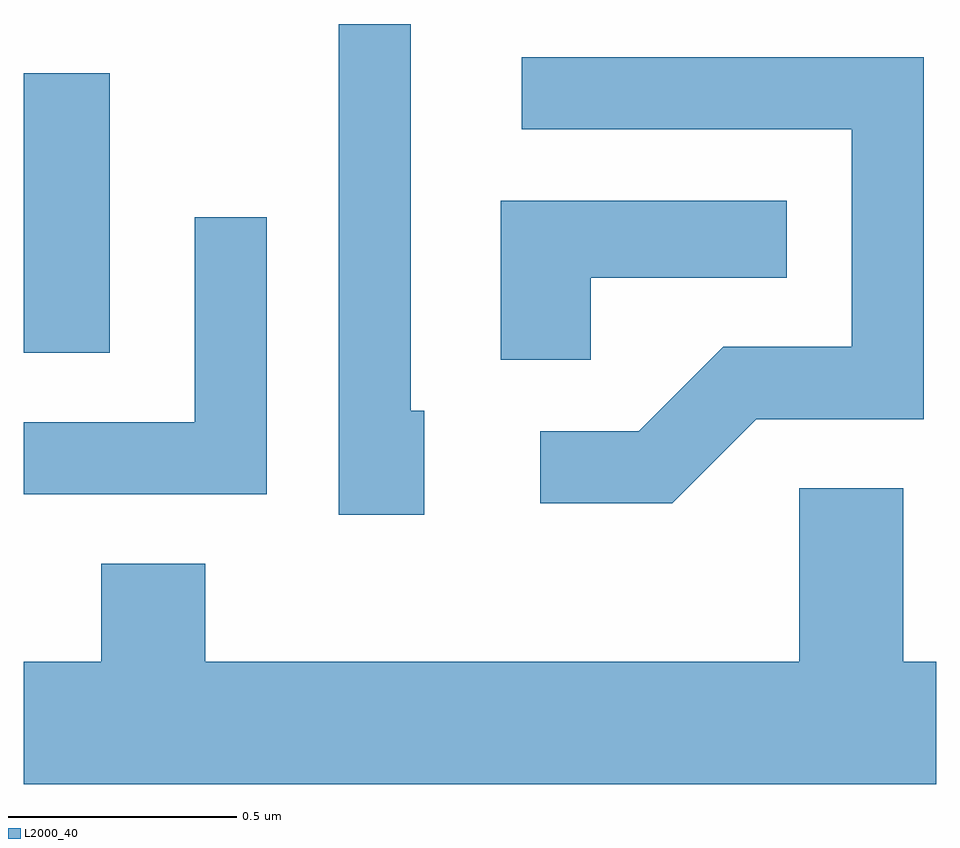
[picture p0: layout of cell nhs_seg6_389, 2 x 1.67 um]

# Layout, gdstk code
import gdstk
lib = gdstk.Library(unit=1e-6, precision=1e-09)
def R(c, l, rs):  # rectangles x0, y0, x1, y1
    for r in rs: c.add(gdstk.rectangle(r[:2], r[2:], *l))
def P(c, l, *ps):  # polygons
    for p in ps: c.add(gdstk.Polygon(p, *l))
L2000_40 = (2000, 40)

nhs_seg6_389 = lib.new_cell('nhs_seg6_389')
R(nhs_seg6_389, L2000_40, [(187.611,1646.441,187.799,1647.054)])
P(nhs_seg6_389, L2000_40, [(188.489,1646.314),(188.459,1646.314),(188.459,1647.162),(188.301,1647.162),(188.301,1646.086),(188.489,1646.086)],
  [(189.217,1646.296),(189.584,1646.296),(189.584,1647.089),(188.703,1647.089),(188.703,1646.931),(189.426,1646.931),(189.426,1646.454),(189.144,1646.454),(188.959,1646.269),(188.743,1646.269),(188.743,1646.111),(189.032,1646.111)],
  [(188.854,1646.606),(189.283,1646.606),(189.283,1646.774),(188.656,1646.774),(188.656,1646.426),(188.854,1646.426)],
  [(188.144,1646.738),(187.986,1646.738),(187.986,1646.289),(187.611,1646.289),(187.611,1646.131),(188.144,1646.131)],
  [(189.611,1645.764),(189.539,1645.764),(189.539,1646.144),(189.311,1646.144),(189.311,1645.764),(188.009,1645.764),(188.009,1645.979),(187.781,1645.979),(187.781,1645.764),(187.611,1645.764),(187.611,1645.496),(189.611,1645.496)])

lib.write_gds('nhs_seg6_389.gds')
